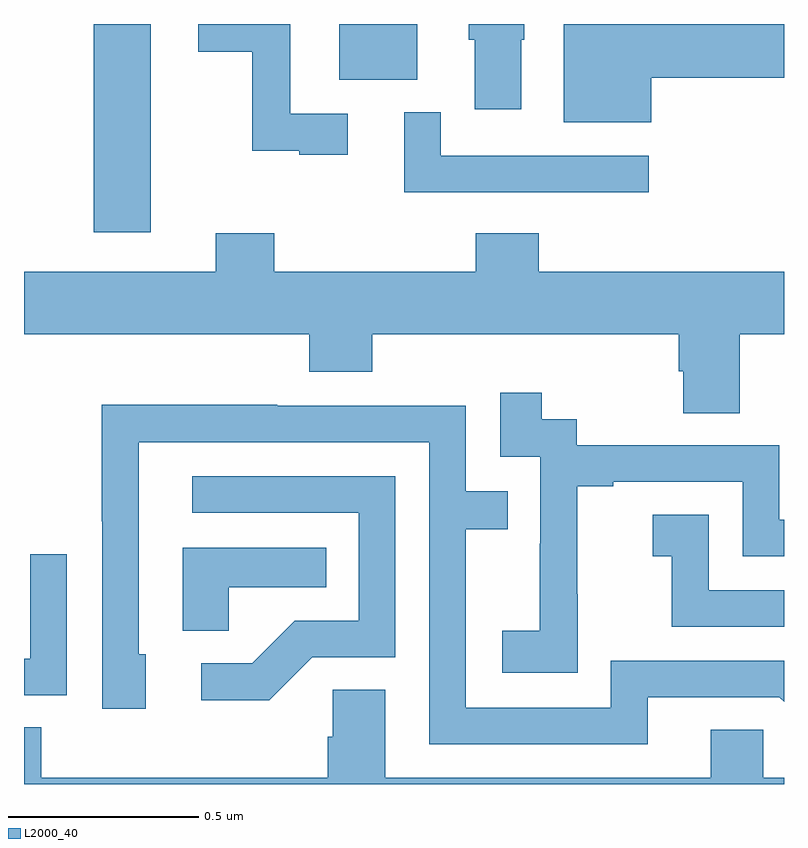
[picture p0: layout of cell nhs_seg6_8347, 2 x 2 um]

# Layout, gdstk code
import gdstk
lib = gdstk.Library(unit=1e-6, precision=1e-09)
def R(c, l, rs):  # rectangles x0, y0, x1, y1
    for r in rs: c.add(gdstk.rectangle(r[:2], r[2:], *l))
def P(c, l, *ps):  # polygons
    for p in ps: c.add(gdstk.Polygon(p, *l))
L2000_40 = (2000, 40)

nhs_seg6_8347 = lib.new_cell('nhs_seg6_8347')
R(nhs_seg6_8347, L2000_40, [(220.184,932.952,220.333,933.5), (220.829,933.353,221.035,933.5)])
P(nhs_seg6_8347, L2000_40, [(221.65,933.359),(222,933.359),(222,933.5),(221.42,933.5),(221.42,933.242),(221.65,933.242)],
  [(221.308,933.459),(221.317,933.459),(221.317,933.5),(221.171,933.5),(221.171,933.459),(221.186,933.459),(221.186,933.276),(221.308,933.276)],
  [(220.852,933.264),(220.701,933.264),(220.701,933.5),(220.458,933.5),(220.458,933.427),(220.6,933.427),(220.6,933.167),(220.724,933.167),(220.724,933.156),(220.852,933.156)],
  [(221.644,933.153),(221.097,933.153),(221.097,933.268),(221,933.268),(221,933.057),(221.644,933.057)],
  [(221.883,932.684),(222,932.684),(222,932.848),(221.354,932.848),(221.354,932.95),(221.189,932.95),(221.189,932.848),(220.658,932.848),(220.658,932.95),(220.505,932.95),(220.505,932.848),(220,932.848),(220,932.684),(220.751,932.684),(220.751,932.585),(220.916,932.585),(220.916,932.684),(221.723,932.684),(221.723,932.586),(221.735,932.586),(221.735,932.476),(221.883,932.476)],
  [(221.457,931.999),(221.456,931.999),(221.456,932.283),(221.551,932.283),(221.551,932.295),(221.892,932.295),(221.892,932.1),(222,932.1),(222,932.196),(221.988,932.196),(221.988,932.391),(221.454,932.391),(221.454,932.46),(221.362,932.46),(221.362,932.53),(221.253,932.53),(221.253,932.361),(221.358,932.361),(221.358,932.132),(221.357,932.132),(221.357,931.903),(221.259,931.903),(221.259,931.793),(221.457,931.793)],
  [(221.641,931.728),(221.988,931.728),(222,931.716),(222,931.824),(221.544,931.824),(221.544,931.701),(221.163,931.701),(221.163,932.17),(221.273,932.17),(221.273,932.271),(221.163,932.271),(221.163,932.496),(220.667,932.496),(220.667,932.498),(220.204,932.498),(220.204,932.191),(220.206,932.191),(220.206,931.698),(220.321,931.698),(220.321,931.842),(220.302,931.842),(220.302,932.4),(221.067,932.4),(221.067,931.605),(221.641,931.605)],
  [(220.758,931.833),(220.977,931.833),(220.977,932.31),(220.443,932.31),(220.443,932.214),(220.881,932.214),(220.881,931.929),(220.712,931.929),(220.601,931.818),(220.467,931.818),(220.467,931.721),(220.645,931.721)],
  [(222,932.01),(221.802,932.01),(221.802,932.209),(221.655,932.209),(221.655,932.099),(221.704,932.099),(221.704,931.914),(222,931.914)],
  [(220.539,932.018),(220.796,932.018),(220.796,932.122),(220.418,932.122),(220.418,931.903),(220.539,931.903)],
  [(220.113,932.104),(220.017,932.104),(220.017,931.83),(220,931.83),(220,931.734),(220.113,931.734)],
  [(221.807,931.516),(220.951,931.516),(220.951,931.748),(220.812,931.748),(220.812,931.625),(220.799,931.625),(220.799,931.516),(220.046,931.516),(220.046,931.649),(220,931.649),(220,931.5),(222,931.5),(222,931.516),(221.946,931.516),(221.946,931.643),(221.807,931.643)])

lib.write_gds('nhs_seg6_8347.gds')
